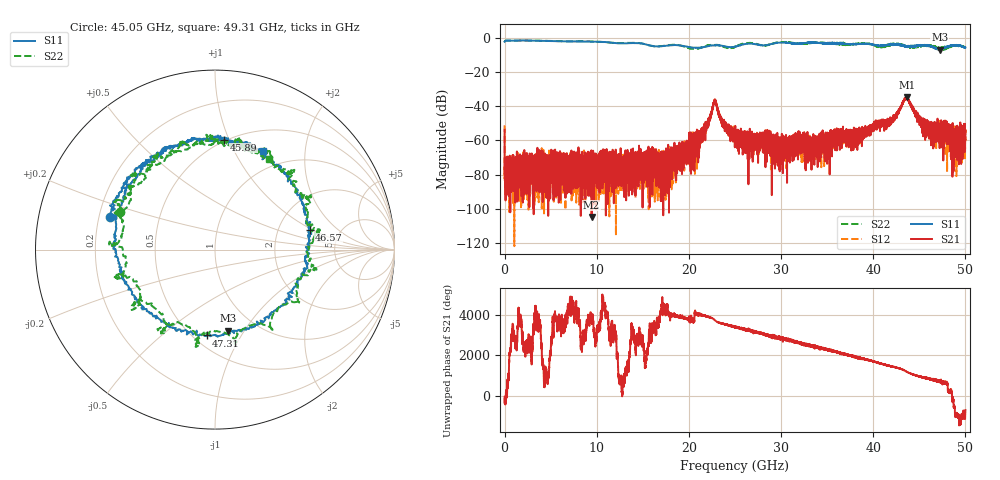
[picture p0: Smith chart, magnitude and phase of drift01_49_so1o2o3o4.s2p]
!Created with skrf (http://scikit-rf.org).
# Hz S RI R 50.0
!freq ReS11 ImS11 ReS21 ImS21 ReS12 ImS12 ReS22 ImS22
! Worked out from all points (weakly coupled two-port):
!   10001 points, 300 kHz to 50 GHz, reference 50 ohm
!   highest |S21| = -34.74 dB at 43.64 GHz (marker M1); lowest = -104.9 dB at 9.44 GHz (marker M2)
!   lowest |S11| = -6.8 dB at 47.21 GHz (marker M3), VSWR 2.69, Z = 37.1 - j42.5 ohm
!   |S11| at or under -10 dB: nowhere
!   |S22| runs from -7.0 to -1.4 dB; largest |S21 - S12| = 0.004
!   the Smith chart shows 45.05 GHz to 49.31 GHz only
!   S11 on the Smith chart (normalised r, x): 45.05 GHz: 0.25, +0.14; 45.89 GHz: 0.49, +0.96; 46.57 GHz: 3.01, +0.93; 47.31 GHz: 0.58, -0.72; 49.31 GHz: 0.75, +1.31
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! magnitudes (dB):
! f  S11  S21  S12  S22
! 300 kHz  -2.1  -53.7  -51.1  -2.2
! 255.3 MHz  -1.4  -80.9  -74.5  -1.4
! 480.3 MHz  -1.5  -84.4  -82.1  -1.5
! 8.335 GHz  -1.9  -74.0  -72.2  -1.8
! 9.44 GHz  -2.1  -104.9  -75.0  -1.9
! 16.67 GHz  -4.9  -68.9  -73.5  -4.8
! 20.71 GHz  -5.7  -55.6  -70.7  -6.3
! 21.96 GHz  -4.8  -51.3  -50.8  -4.4
! 22.79 GHz  -4.3  -36.4  -36.4  -4.0
! 23.75 GHz  -4.7  -50.6  -49.8  -5.0
! 25 GHz  -5.0  -53.2  -57.2  -5.2
! 30 GHz  -2.6  -61.9  -61.9  -2.3
! 33.34 GHz  -2.6  -60.3  -66.3  -2.6
! 41.67 GHz  -3.9  -48.3  -48.5  -4.4
! 43.64 GHz  -4.8  -34.7  -35.5  -5.2
! 45.05 GHz  -4.3  -48.0  -48.1  -4.9
! 45.89 GHz  -4.2  -49.1  -51.8  -4.1
! 46.57 GHz  -5.4  -52.8  -52.8  -4.8
! 47.21 GHz  -6.8  -54.2  -53.0  -5.9
! 47.31 GHz  -6.4  -53.7  -57.2  -6.7
! 49.31 GHz  -4.3  -66.1  -64.5  -4.6
! 50 GHz  -5.5  -59.9  -56.2  -5.4
